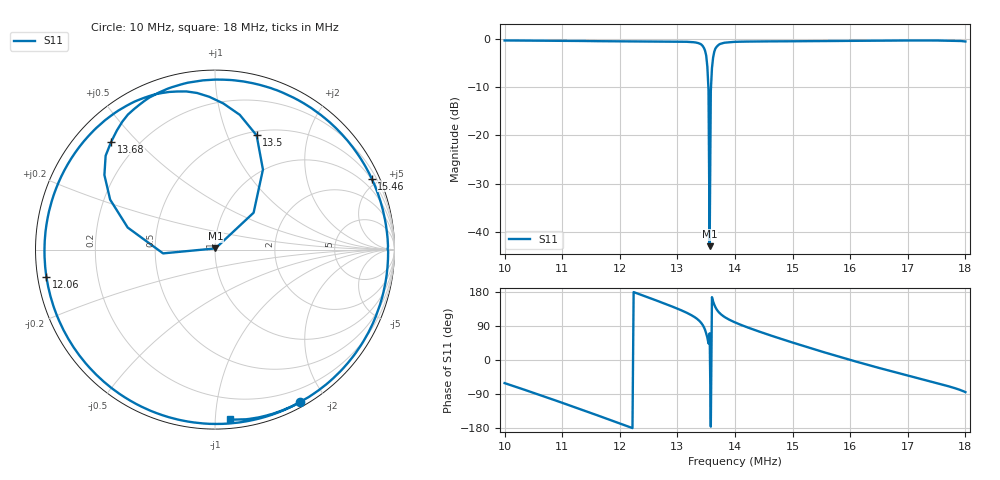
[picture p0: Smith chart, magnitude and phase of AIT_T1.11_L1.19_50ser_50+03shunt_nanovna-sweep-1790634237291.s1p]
! NanoVNA Web complex sweep
! Processing: original sample grid, no browser smoothing
# Hz S RI R 50
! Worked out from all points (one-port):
!   401 points, 10 MHz to 18 MHz, reference 50 ohm
!   lowest |S11| = -43.0 dB at 13.56 MHz (marker M1), VSWR 1.01, Z = 50.2 + j0.668 ohm
!   |S11| at or under -10 dB: 13.53782 MHz to 13.58313 MHz (45.32 kHz wide, 0.334 % of centre)
!   S11 on the Smith chart (normalised r, x): 10 MHz: 0.05, -1.70; 12.06 MHz: 0.02, -0.08; 13.5 MHz: 0.54, +1.28; 13.68 MHz: 0.11, +0.42; 15.46 MHz: 0.47, +4.58; 18 MHz: 0.06, -1.09
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1e7  0.4721 -0.8517
1.052e7  0.0409 -0.9709
1.1e7  -0.3763 -0.8904
1.154e7  -0.7565 -0.5885
1.2e7  -0.9294 -0.2071
1.206e7  -0.9392 -0.1527
1.254e7  -0.9044 0.2864
1.3e7  -0.6754 0.6639
1.324e7  -0.4485 0.8244
1.338e7  -0.2107 0.8809
1.346e7  0.0466 0.8142
1.35e7  0.2319 0.6365
1.352e7  0.2671 0.4459
1.356e7  0.00237 0.00665
1.36e7  -0.4865 0.123
1.362e7  -0.5842 0.2784
1.368e7  -0.5779 0.602
1.374e7  -0.4851 0.7524
1.38e7  -0.3932 0.8284
1.4e7  -0.1511 0.93
1.446e7  0.2792 0.9094
1.5e7  0.663 0.6873
1.546e7  0.873 0.3959
1.6e7  0.9617 0.00268
1.648e7  0.9107 -0.3332
1.7e7  0.7337 -0.6394
1.76e7  0.4129 -0.8795
1.8e7  0.0863 -0.9462
